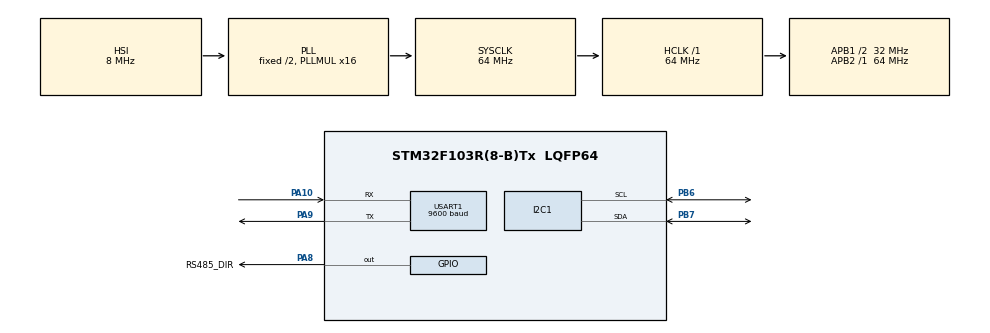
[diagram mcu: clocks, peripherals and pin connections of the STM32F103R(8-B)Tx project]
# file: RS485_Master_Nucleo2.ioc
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Mcu.Family=STM32F1
Mcu.Name=STM32F103R(8-B)Tx
Mcu.Package=LQFP64
NVIC.PriorityGroup=NVIC_PRIORITYGROUP_4
PA10.Mode=Asynchronous
PA10.Signal=USART1_RX
PA13.Mode=Serial_Wire
PA13.Signal=SYS_JTMS-SWDIO
PA14.Mode=Serial_Wire
PA14.Signal=SYS_JTCK-SWCLK
PA8.GPIO_Label=RS485_DIR
PA8.Signal=GPIO_Output
PA9.Mode=Asynchronous
PA9.Signal=USART1_TX
PB6.Mode=I2C
PB6.Signal=I2C1_SCL
PB7.Mode=I2C
PB7.Signal=I2C1_SDA
ProjectManager.HeapSize=0x200
ProjectManager.StackSize=0x400
ProjectManager.TargetToolchain=STM32CubeIDE
RCC.AHBFreq_Value=64000000
RCC.APB1CLKDivider=RCC_HCLK_DIV2
RCC.APB1Freq_Value=32000000
RCC.APB1TimFreq_Value=64000000
RCC.APB2Freq_Value=64000000
RCC.APB2TimFreq_Value=64000000
RCC.HCLKFreq_Value=64000000
RCC.PLLMUL=RCC_PLL_MUL16
RCC.SYSCLKFreq_VALUE=64000000
RCC.SYSCLKSource=RCC_SYSCLKSOURCE_PLLCLK
RCC.USBFreq_Value=64000000
USART1.BaudRate=9600
USART1.VirtualMode=VM_ASYNC
board=custom

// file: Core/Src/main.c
/* USER CODE BEGIN Header */
/**
  ******************************************************************************
  * @file           : main.c
  * @brief          : Main program body
  ******************************************************************************
  * @attention
  *
  * Copyright (c) 2026 STMicroelectronics.
  * All rights reserved.
  *
  * This software is licensed under terms that can be found in the LICENSE file
  * in the root directory of this software component.
  * If no LICENSE file comes with this software, it is provided AS-IS.
  *
  ******************************************************************************
  */
/* USER CODE END Header */
#include "main.h"

/* USER CODE BEGIN Includes */
#include <string.h>
#include <stdio.h>

/* USER CODE END Includes */

I2C_HandleTypeDef hi2c1;

UART_HandleTypeDef huart1;

void SystemClock_Config(void);
static void MX_GPIO_Init(void);
static void MX_USART1_UART_Init(void);
static void MX_I2C1_Init(void);

/* USER CODE BEGIN 0 */

#define BMP180_ADDR (0x77 << 1) // STM32 I2C adresleme formatı (Sola kaydırılmış)

// Kalibrasyon Katsayıları
short AC1, AC2, AC3, B1, B2, MB, MC, MD;
unsigned short AC4, AC5, AC6;

// Sensör Başlatma ve Katsayıları Okuma
void BMP180_Init(void) {
    uint8_t calibData[22];
    HAL_I2C_Mem_Read(&hi2c1, BMP180_ADDR, 0xAA, 1, calibData, 22, 100);

    AC1 = (calibData[0] << 8) | calibData[1];
    AC2 = (calibData[2] << 8) | calibData[3];
    AC3 = (calibData[4] << 8) | calibData[5];
    AC4 = (calibData[6] << 8) | calibData[7];
    AC5 = (calibData[8] << 8) | calibData[9];
    AC6 = (calibData[10] << 8) | calibData[11];
    B1  = (calibData[12] << 8) | calibData[13];
    B2  = (calibData[14] << 8) | calibData[15];
    MB  = (calibData[16] << 8) | calibData[17];
    MC  = (calibData[18] << 8) | calibData[19];
    MD  = (calibData[20] << 8) | calibData[21];
}

// Sıcaklık ve Basınç Okuma Fonksiyonu
void BMP180_Read(float *temp, long *press) {
    uint8_t data[3];
    uint8_t cmd;

    // 1. Sıcaklık Oku
    cmd = 0x2E;
    HAL_I2C_Mem_Write(&hi2c1, BMP180_ADDR, 0xF4, 1, &cmd, 1, 100);
    HAL_Delay(5); // Dönüşüm için bekle
    HAL_I2C_Mem_Read(&hi2c1, BMP180_ADDR, 0xF6, 1, data, 2, 100);
    long UT = (data[0] << 8) | data[1];

    // 2. Basınç Oku (Oversampling = 0)
    cmd = 0x34;
    HAL_I2C_Mem_Write(&hi2c1, BMP180_ADDR, 0xF4, 1, &cmd, 1, 100);
    HAL_Delay(5);
    HAL_I2C_Mem_Read(&hi2c1, BMP180_ADDR, 0xF6, 1, data, 3, 100);
    long UP = (data[0] << 16 | data[1] << 8 | data[2]) >> 8;

    // 3. Matematiksel Dönüşümler (Datasheet Algoritması)
    long X1 = ((UT - (long)AC6) * (long)AC5) >> 15;
    long X2 = ((long)MC << 11) / (X1 + MD);
    long B5 = X1 + X2;
    *temp = ((B5 + 8) >> 4) / 10.0f; // Sıcaklık Hesaplandı

    long B6 = B5 - 4000;
    X1 = (B2 * (B6 * B6 >> 12)) >> 11;
    X2 = (AC2 * B6) >> 11;
    long X3 = X1 + X2;
    long B3 = (((AC1 * 4 + X3) << 0) + 2) >> 2;
    X1 = (AC3 * B6) >> 13;
    X2 = (B1 * (B6 * B6 >> 12)) >> 16;
    X3 = ((X1 + X2) + 2) >> 2;
    unsigned long B4 = (AC4 * (unsigned long)(X3 + 32768)) >> 15;
    unsigned long B7 = ((unsigned long)UP - B3) * 50000;
    long p;
    if (B7 < 0x80000000) p = (B7 * 2) / B4;
    else p = (B7 / B4) * 2;
    X1 = (p >> 8) * (p >> 8);
    X1 = (X1 * 3038) >> 16;
    X2 = (-7357 * p) >> 16;
    *press = p + ((X1 + X2 + 3791) >> 4); // Basınç Hesaplandı
}

/* USER CODE END 0 */

int main(void)
{

  /* MCU Configuration--------------------------------------------------------*/

  /* Reset of all peripherals, Initializes the Flash interface and the Systick. */
  HAL_Init();

  /* Configure the system clock */
  SystemClock_Config();

  /* Initialize all configured peripherals */
  MX_GPIO_Init();
  MX_USART1_UART_Init();
  MX_I2C1_Init();
  /* USER CODE BEGIN 2 */

  // BMP180 Kalibrasyon verilerini çek
    BMP180_Init();

    // RS485'i Dinleme modunda başlat (Hattı kitlememek için)
    HAL_GPIO_WritePin(RS485_DIR_GPIO_Port, RS485_DIR_Pin, GPIO_PIN_RESET);

  /* USER CODE END 2 */

  /* Infinite loop */
  while (1)
  {

    /* USER CODE BEGIN 3 */
	  float sicaklik;
	        long basinc;

	        // 1. Sensörden gerçek verileri oku
	        BMP180_Read(&sicaklik, &basinc);

	        // Float veriyi yazdırmak için tam sayı ve ondalık kısımlarına ayır
	        int sic_tam = (int)sicaklik;
	        int sic_ondalik = (int)((sicaklik - sic_tam) * 10);
	        if(sic_ondalik < 0) sic_ondalik = -sic_ondalik;

	        // 2. RS485 formatında metin oluştur (Basıncı hPa cinsinden göster)
	        char mesaj[100];
	        sprintf(mesaj, "Sicaklik: %d.%d C, Basinc: %ld hPa\r\n", sic_tam, sic_ondalik, basinc / 100);

	        // 3. Modülü Yazma (TX) moduna al
	        HAL_GPIO_WritePin(RS485_DIR_GPIO_Port, RS485_DIR_Pin, GPIO_PIN_SET);
	        HAL_Delay(1); // Yön oturma gecikmesi

	        // 4. Veriyi gönder
	        HAL_UART_Transmit(&huart1, (uint8_t *)mesaj, strlen(mesaj), 500);
	        HAL_Delay(5); // Altın gecikme (Veri kesilmesin diye)

	        // 5. Modülü Dinleme (RX) moduna geri al
	        HAL_GPIO_WritePin(RS485_DIR_GPIO_Port, RS485_DIR_Pin, GPIO_PIN_RESET);

	        // Saniyede 1 kez ölçüm yap
	        HAL_Delay(1000);
  }
  /* USER CODE END 3 */
}

void SystemClock_Config(void)
{
  RCC_OscInitTypeDef RCC_OscInitStruct = {0};
  RCC_ClkInitTypeDef RCC_ClkInitStruct = {0};

  /** Initializes the RCC Oscillators according to the specified parameters
  * in the RCC_OscInitTypeDef structure.
  */
  RCC_OscInitStruct.OscillatorType = RCC_OSCILLATORTYPE_HSI;
  RCC_OscInitStruct.HSIState = RCC_HSI_ON;
  RCC_OscInitStruct.HSICalibrationValue = RCC_HSICALIBRATION_DEFAULT;
  RCC_OscInitStruct.PLL.PLLState = RCC_PLL_ON;
  RCC_OscInitStruct.PLL.PLLSource = RCC_PLLSOURCE_HSI_DIV2;
  RCC_OscInitStruct.PLL.PLLMUL = RCC_PLL_MUL16;
  if (HAL_RCC_OscConfig(&RCC_OscInitStruct) != HAL_OK)
  {
    Error_Handler();
  }

  /** Initializes the CPU, AHB and APB buses clocks
  */
  RCC_ClkInitStruct.ClockType = RCC_CLOCKTYPE_HCLK|RCC_CLOCKTYPE_SYSCLK
                              |RCC_CLOCKTYPE_PCLK1|RCC_CLOCKTYPE_PCLK2;
  RCC_ClkInitStruct.SYSCLKSource = RCC_SYSCLKSOURCE_PLLCLK;
  RCC_ClkInitStruct.AHBCLKDivider = RCC_SYSCLK_DIV1;
  RCC_ClkInitStruct.APB1CLKDivider = RCC_HCLK_DIV2;
  RCC_ClkInitStruct.APB2CLKDivider = RCC_HCLK_DIV1;

  if (HAL_RCC_ClockConfig(&RCC_ClkInitStruct, FLASH_LATENCY_2) != HAL_OK)
  {
    Error_Handler();
  }
}

static void MX_I2C1_Init(void)
{

  hi2c1.Instance = I2C1;
  hi2c1.Init.ClockSpeed = 100000;
  hi2c1.Init.DutyCycle = I2C_DUTYCYCLE_2;
  hi2c1.Init.OwnAddress1 = 0;
  hi2c1.Init.AddressingMode = I2C_ADDRESSINGMODE_7BIT;
  hi2c1.Init.DualAddressMode = I2C_DUALADDRESS_DISABLE;
  hi2c1.Init.OwnAddress2 = 0;
  hi2c1.Init.GeneralCallMode = I2C_GENERALCALL_DISABLE;
  hi2c1.Init.NoStretchMode = I2C_NOSTRETCH_DISABLE;
  if (HAL_I2C_Init(&hi2c1) != HAL_OK)
  {
    Error_Handler();
  }

}

static void MX_USART1_UART_Init(void)
{

  huart1.Instance = USART1;
  huart1.Init.BaudRate = 9600;
  huart1.Init.WordLength = UART_WORDLENGTH_8B;
  huart1.Init.StopBits = UART_STOPBITS_1;
  huart1.Init.Parity = UART_PARITY_NONE;
  huart1.Init.Mode = UART_MODE_TX_RX;
  huart1.Init.HwFlowCtl = UART_HWCONTROL_NONE;
  huart1.Init.OverSampling = UART_OVERSAMPLING_16;
  if (HAL_UART_Init(&huart1) != HAL_OK)
  {
    Error_Handler();
  }

}

static void MX_GPIO_Init(void)
{
  GPIO_InitTypeDef GPIO_InitStruct = {0};

  /* GPIO Ports Clock Enable */
  __HAL_RCC_GPIOA_CLK_ENABLE();
  __HAL_RCC_GPIOB_CLK_ENABLE();

  /*Configure GPIO pin Output Level */
  HAL_GPIO_WritePin(RS485_DIR_GPIO_Port, RS485_DIR_Pin, GPIO_PIN_RESET);

  /*Configure GPIO pin : RS485_DIR_Pin */
  GPIO_InitStruct.Pin = RS485_DIR_Pin;
  GPIO_InitStruct.Mode = GPIO_MODE_OUTPUT_PP;
  GPIO_InitStruct.Pull = GPIO_NOPULL;
  GPIO_InitStruct.Speed = GPIO_SPEED_FREQ_LOW;
  HAL_GPIO_Init(RS485_DIR_GPIO_Port, &GPIO_InitStruct);

}

void Error_Handler(void)
{
  __disable_irq();
  while (1)
  {
  }
}
